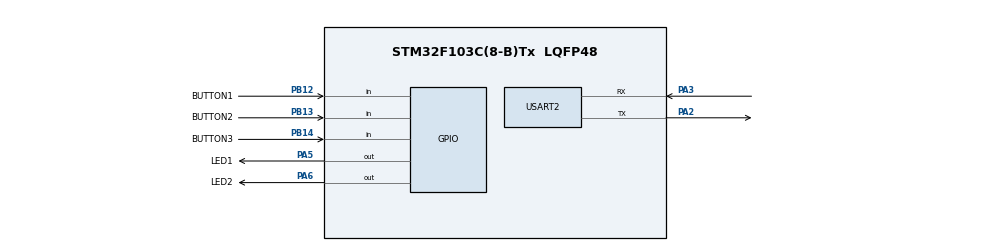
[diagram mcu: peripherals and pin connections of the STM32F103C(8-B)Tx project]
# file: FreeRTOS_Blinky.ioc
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Mcu.Family=STM32F1
Mcu.Name=STM32F103C(8-B)Tx
Mcu.Package=LQFP48
NVIC.PriorityGroup=NVIC_PRIORITYGROUP_4
NVIC.USART2_IRQn=true\:0\:0\:false\:false\:true\:true\:true\:true
PA2.Mode=Asynchronous
PA2.Signal=USART2_TX
PA3.Mode=Asynchronous
PA3.Signal=USART2_RX
PA5.GPIO_Label=LED1
PA5.Signal=GPIO_Output
PA6.GPIO_Label=LED2
PA6.Signal=GPIO_Output
PB12.GPIO_Label=BUTTON1
PB12.GPIO_PuPd=GPIO_PULLUP
PB12.Signal=GPIO_Input
PB13.GPIO_Label=BUTTON2
PB13.GPIO_PuPd=GPIO_PULLUP
PB13.Signal=GPIO_Input
PB14.GPIO_Label=BUTTON3
PB14.GPIO_PuPd=GPIO_PULLUP
PB14.Signal=GPIO_Input
ProjectManager.HeapSize=0x200
ProjectManager.StackSize=0x400
ProjectManager.TargetToolchain=STM32CubeIDE
RCC.APB1Freq_Value=8000000
RCC.APB2Freq_Value=8000000
USART2.VirtualMode=VM_ASYNC
board=custom

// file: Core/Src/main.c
/* USER CODE BEGIN Header */
/**
  ******************************************************************************
  * @file           : main.c
  * @brief          : Main program body
  ******************************************************************************
  * @attention
  *
  * Copyright (c) 2023 STMicroelectronics.
  * All rights reserved.
  *
  * This software is licensed under terms that can be found in the LICENSE file
  * in the root directory of this software component.
  * If no LICENSE file comes with this software, it is provided AS-IS.
  *
  ******************************************************************************
  */
/* USER CODE END Header */
#include "main.h"
#include"string.h"
/* USER CODE BEGIN Includes */
#include <stdbool.h>
#include "FreeRTOS.h"
#include "task.h"
#include "uartstdio.h"
/* USER CODE END Includes */

/* USER CODE BEGIN PV */
TaskHandle_t   status_task_Handle;

static void Status_Led_Task( void *pvParameters );
static void UART( void *pvParameters );
/* USER CODE END PV */

void SystemClock_Config(void);
static void MX_GPIO_Init(void);
static void MX_USART2_UART_Init(void);

/* USER CODE BEGIN 0 */

//unsigned char data='0';

/* USER CODE END 0 */

int main(void)
{

  /* MCU Configuration--------------------------------------------------------*/

  /* Reset of all peripherals, Initializes the Flash interface and the Systick. */
  LL_APB2_GRP1_EnableClock(LL_APB2_GRP1_PERIPH_AFIO);
  LL_APB1_GRP1_EnableClock(LL_APB1_GRP1_PERIPH_PWR);

  /* System interrupt init*/
  NVIC_SetPriorityGrouping(NVIC_PRIORITYGROUP_4);

  /* SysTick_IRQn interrupt configuration */
  NVIC_SetPriority(SysTick_IRQn, NVIC_EncodePriority(NVIC_GetPriorityGrouping(),15, 0));

  /* Configure the system clock */
  SystemClock_Config();

  /* Initialize all configured peripherals */
  MX_GPIO_Init();
  MX_USART2_UART_Init();
  /* USER CODE BEGIN 2 */

  UARTStdioConfig(USART2,true);
  xTaskCreate(Status_Led_Task, "statusLEDTask",configMINIMAL_STACK_SIZE, NULL, 1, &status_task_Handle);
  xTaskCreate(UART, "UART",configMINIMAL_STACK_SIZE, NULL, 1, NULL);

  /* USER CODE END 2 */

  /* Infinite loop */
  /* USER CODE BEGIN WHILE */

  vTaskStartScheduler();
  while (1)
  {
    /* USER CODE END WHILE */

  }
}

void SystemClock_Config(void)
{
  LL_FLASH_SetLatency(LL_FLASH_LATENCY_0);
  while(LL_FLASH_GetLatency()!= LL_FLASH_LATENCY_0)
  {
  }
  LL_RCC_HSI_SetCalibTrimming(16);
  LL_RCC_HSI_Enable();

   /* Wait till HSI is ready */
  while(LL_RCC_HSI_IsReady() != 1)
  {

  }
  LL_RCC_SetAHBPrescaler(LL_RCC_SYSCLK_DIV_1);
  LL_RCC_SetAPB1Prescaler(LL_RCC_APB1_DIV_1);
  LL_RCC_SetAPB2Prescaler(LL_RCC_APB2_DIV_1);
  LL_RCC_SetSysClkSource(LL_RCC_SYS_CLKSOURCE_HSI);

   /* Wait till System clock is ready */
  while(LL_RCC_GetSysClkSource() != LL_RCC_SYS_CLKSOURCE_STATUS_HSI)
  {

  }
  LL_Init1msTick(8000000);
  LL_SetSystemCoreClock(8000000);
}

static void MX_USART2_UART_Init(void)
{

  LL_USART_InitTypeDef USART_InitStruct = {0};

  LL_GPIO_InitTypeDef GPIO_InitStruct = {0};

  /* Peripheral clock enable */
  LL_APB1_GRP1_EnableClock(LL_APB1_GRP1_PERIPH_USART2);

  LL_APB2_GRP1_EnableClock(LL_APB2_GRP1_PERIPH_GPIOA);
  /**USART2 GPIO Configuration
  PA2   ------> USART2_TX
  PA3   ------> USART2_RX
  */
  GPIO_InitStruct.Pin = LL_GPIO_PIN_2;
  GPIO_InitStruct.Mode = LL_GPIO_MODE_ALTERNATE;
  GPIO_InitStruct.Speed = LL_GPIO_SPEED_FREQ_HIGH;
  GPIO_InitStruct.OutputType = LL_GPIO_OUTPUT_PUSHPULL;
  LL_GPIO_Init(GPIOA, &GPIO_InitStruct);

  GPIO_InitStruct.Pin = LL_GPIO_PIN_3;
  GPIO_InitStruct.Mode = LL_GPIO_MODE_FLOATING;
  LL_GPIO_Init(GPIOA, &GPIO_InitStruct);

  /* USART2 interrupt Init */
  NVIC_SetPriority(USART2_IRQn, NVIC_EncodePriority(NVIC_GetPriorityGrouping(),0, 0));
  NVIC_EnableIRQ(USART2_IRQn);

  USART_InitStruct.BaudRate = 115200;
  USART_InitStruct.DataWidth = LL_USART_DATAWIDTH_8B;
  USART_InitStruct.StopBits = LL_USART_STOPBITS_1;
  USART_InitStruct.Parity = LL_USART_PARITY_NONE;
  USART_InitStruct.TransferDirection = LL_USART_DIRECTION_TX_RX;
  USART_InitStruct.HardwareFlowControl = LL_USART_HWCONTROL_NONE;
  USART_InitStruct.OverSampling = LL_USART_OVERSAMPLING_16;
  LL_USART_Init(USART2, &USART_InitStruct);
  LL_USART_ConfigAsyncMode(USART2);
  LL_USART_Enable(USART2);

}

static void MX_GPIO_Init(void)
{
  LL_GPIO_InitTypeDef GPIO_InitStruct = {0};

  /* GPIO Ports Clock Enable */
  LL_APB2_GRP1_EnableClock(LL_APB2_GRP1_PERIPH_GPIOA);
  LL_APB2_GRP1_EnableClock(LL_APB2_GRP1_PERIPH_GPIOB);

  /**/
  LL_GPIO_ResetOutputPin(GPIOA, LED1_Pin|LED2_Pin);

  /**/
  GPIO_InitStruct.Pin = LED1_Pin|LED2_Pin;
  GPIO_InitStruct.Mode = LL_GPIO_MODE_OUTPUT;
  GPIO_InitStruct.Speed = LL_GPIO_SPEED_FREQ_LOW;
  GPIO_InitStruct.OutputType = LL_GPIO_OUTPUT_PUSHPULL;
  LL_GPIO_Init(GPIOA, &GPIO_InitStruct);

  /**/
  GPIO_InitStruct.Pin = BUTTON1_Pin|BUTTON2_Pin|BUTTON3_Pin;
  GPIO_InitStruct.Mode = LL_GPIO_MODE_INPUT;
  GPIO_InitStruct.Pull = LL_GPIO_PULL_UP;
  LL_GPIO_Init(GPIOB, &GPIO_InitStruct);

}

/* USER CODE BEGIN 4 */
static void Status_Led_Task( void *pvParameters )
{
	while(1)
	{
        LL_GPIO_TogglePin(LED1_GPIO_Port,LED1_Pin);
		vTaskDelay(1000);

	}
}
static void UART( void *pvParameters )
{

	while(1)
	{

         char buffer[10];

         UARTgets(buffer,10);
		 if (strcmp(buffer,"on")==0){
			LL_GPIO_SetOutputPin(LED2_GPIO_Port,LED2_Pin);
		}

		 if (strcmp(buffer,"off")==0){
			LL_GPIO_ResetOutputPin(LED2_GPIO_Port,LED2_Pin);
		}

		 if(strcmp(buffer,"on")!=0&&strcmp(buffer,"off")!=0){
			UARTprintf("InValid\n");
		}

          vTaskDelay(10);

	}
}

/* USER CODE END 4 */

void Error_Handler(void)
{
  __disable_irq();
  while (1)
  {
  }
}
